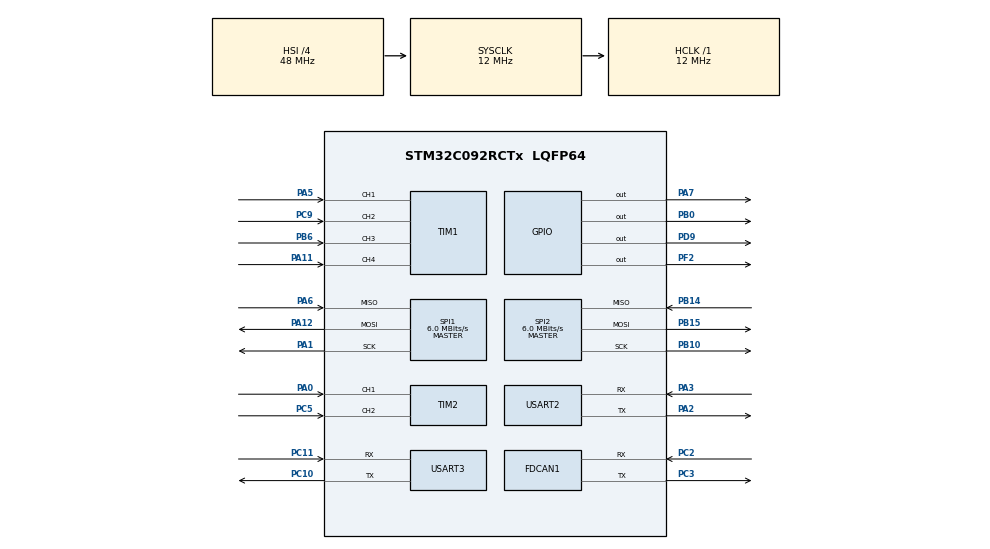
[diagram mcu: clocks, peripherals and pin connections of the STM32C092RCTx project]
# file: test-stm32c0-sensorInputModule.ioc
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FDCAN1.CalculateBaudRateNominal=250000
FDCAN1.CalculateTimeBitNominal=4000
FDCAN1.CalculateTimeQuantumNominal=1333.3333333333333
Mcu.Family=STM32C0
Mcu.Name=STM32C092RCTx
Mcu.Package=LQFP64
PA0.Signal=S_TIM2_CH1
PA1.Mode=Full_Duplex_Master
PA1.Signal=SPI1_SCK
PA11\ [PA9].Signal=S_TIM1_CH4
PA12\ [PA10].Mode=Full_Duplex_Master
PA12\ [PA10].Signal=SPI1_MOSI
PA13.Mode=Serial_Wire
PA13.Signal=DEBUG_SWDIO
PA14-BOOT0.Mode=Serial_Wire
PA14-BOOT0.Signal=DEBUG_SWCLK
PA2.Mode=Asynchronous
PA2.Signal=USART2_TX
PA3.Mode=Asynchronous
PA3.Signal=USART2_RX
PA5.Signal=S_TIM1_CH1
PA6.Mode=Full_Duplex_Master
PA6.Signal=SPI1_MISO
PA7.Signal=GPIO_Output
PB0.Signal=GPIO_Output
PB10.Mode=Full_Duplex_Master
PB10.Signal=SPI2_SCK
PB14.Mode=Full_Duplex_Master
PB14.Signal=SPI2_MISO
PB15.Mode=Full_Duplex_Master
PB15.Signal=SPI2_MOSI
PB6.Signal=S_TIM1_CH3
PC10.Mode=Asynchronous
PC10.Signal=USART3_TX
PC11.Mode=Asynchronous
PC11.Signal=USART3_RX
PC14-OSCX_IN(PC14).Mode=LSE-External-Oscillator
PC14-OSCX_IN(PC14).Signal=RCC_OSCX_IN
PC15-OSCX_OUT(PC15).Mode=LSE-External-Oscillator
PC15-OSCX_OUT(PC15).Signal=RCC_OSCX_OUT
PC2.Mode=FDCAN_Activate
PC2.Signal=FDCAN1_RX
PC3.Mode=FDCAN_Activate
PC3.Signal=FDCAN1_TX
PC5.Signal=S_TIM2_CH2
PC9.Signal=S_TIM1_CH2
PD9.Signal=GPIO_Output
PF0-OSC_IN(PF0).Mode=HSE-External-Oscillator
PF0-OSC_IN(PF0).Signal=RCC_OSC_IN
PF1-OSC_OUT(PF1).Mode=HSE-External-Oscillator
PF1-OSC_OUT(PF1).Signal=RCC_OSC_OUT
PF2-NRST.Signal=GPIO_Output
ProjectManager.HeapSize=0x200
ProjectManager.StackSize=0x400
ProjectManager.TargetToolchain=STM32CubeIDE
RCC.ADCFreq_Value=12000000
RCC.AHBFreq_Value=12000000
RCC.CortexFreq_Value=12000000
RCC.EXTERNAL_CLOCK_VALUE=12288000
RCC.HCLKFreq_Value=12000000
RCC.HSE_VALUE=8000000
RCC.HSI_VALUE=48000000
RCC.SYSCLKFreq_VALUE=12000000
SH.S_TIM1_CH1.0=TIM1_CH1,Input_Capture1_from_TI1
SH.S_TIM1_CH2.0=TIM1_CH2,Input_Capture2_from_TI2
SH.S_TIM1_CH3.0=TIM1_CH3,Input_Capture3_from_TI3
SH.S_TIM1_CH4.0=TIM1_CH4,Input_Capture4_from_TI4
SH.S_TIM2_CH1.0=TIM2_CH1,Input_Capture1_from_TI1
SH.S_TIM2_CH2.0=TIM2_CH2,Input_Capture2_from_TI2
SPI1.CalculateBaudRate=6.0 MBits/s
SPI1.Direction=SPI_DIRECTION_2LINES
SPI1.Mode=SPI_MODE_MASTER
SPI1.VirtualType=VM_MASTER
SPI2.CalculateBaudRate=6.0 MBits/s
SPI2.Direction=SPI_DIRECTION_2LINES
SPI2.Mode=SPI_MODE_MASTER
SPI2.VirtualType=VM_MASTER
TIM1.Channel-Input_Capture1_from_TI1=TIM_CHANNEL_1
TIM1.Channel-Input_Capture2_from_TI2=TIM_CHANNEL_2
TIM1.Channel-Input_Capture3_from_TI3=TIM_CHANNEL_3
TIM1.Channel-Input_Capture4_from_TI4=TIM_CHANNEL_4
TIM2.Channel-Input_Capture1_from_TI1=TIM_CHANNEL_1
TIM2.Channel-Input_Capture2_from_TI2=TIM_CHANNEL_2
USART2.VirtualMode-Asynchronous=VM_ASYNC
USART3.VirtualMode-Asynchronous=VM_ASYNC
VP_TIM1_VS_ClockSourceINT.Mode=Internal
VP_TIM2_VS_ClockSourceINT.Mode=Internal
board=custom

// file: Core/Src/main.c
/* USER CODE BEGIN Header */
/**
  ******************************************************************************
  * @file           : main.c
  * @brief          : Main program body
  ******************************************************************************
  * @attention
  *
  * Copyright (c) 2025 STMicroelectronics.
  * All rights reserved.
  *
  * This software is licensed under terms that can be found in the LICENSE file
  * in the root directory of this software component.
  * If no LICENSE file comes with this software, it is provided AS-IS.
  *
  ******************************************************************************
  */
/* USER CODE END Header */
#include "main.h"

FDCAN_HandleTypeDef hfdcan1;

SPI_HandleTypeDef hspi1;
SPI_HandleTypeDef hspi2;

TIM_HandleTypeDef htim1;
TIM_HandleTypeDef htim2;

UART_HandleTypeDef huart2;
UART_HandleTypeDef huart3;

void SystemClock_Config(void);
static void MX_GPIO_Init(void);
static void MX_FDCAN1_Init(void);
static void MX_TIM1_Init(void);
static void MX_SPI1_Init(void);
static void MX_SPI2_Init(void);
static void MX_USART3_UART_Init(void);
static void MX_TIM2_Init(void);
static void MX_USART2_UART_Init(void);

/* USER CODE BEGIN 0 */
volatile uint8_t gu8_State = IDLE;
volatile uint8_t gu8_MSG[35] = {'\0'};
volatile uint32_t gu32_T1 = 0;
volatile uint32_t gu32_T2 = 0;
volatile uint32_t gu32_Ticks = 0;
volatile uint16_t gu16_TIM2_OVC = 0;
volatile uint32_t gu32_Freq = 0;

void HAL_TIM_IC_CaptureCallback(TIM_HandleTypeDef* htim)
{
    if(gu8_State == IDLE)
    {
        gu32_T1 = TIM2->CCR1;
        gu16_TIM2_OVC = 0;
        gu8_State = DONE;
    }
    else if(gu8_State == DONE)
    {
        gu32_T2 = TIM2->CCR1;
        gu32_Ticks = (gu32_T2 + (gu16_TIM2_OVC * 65536)) - gu32_T1;
        gu32_Freq = (uint32_t)(F_CLK/gu32_Ticks);
        if(gu32_Freq != 0)
        {
          //sprintf(gu8_MSG, "Frequency = %lu Hz\n\r", gu32_Freq);
          //HAL_UART_Transmit(&huart1, gu8_MSG, sizeof(gu8_MSG), 100);
        }
        gu8_State = IDLE;
    }
}

void HAL_TIM_PeriodElapsedCallback(TIM_HandleTypeDef* htim)
{
    gu16_TIM2_OVC++;
}

/* USER CODE END 0 */

int main(void)
{

  /* MCU Configuration--------------------------------------------------------*/

  /* Reset of all peripherals, Initializes the Flash interface and the Systick. */
  HAL_Init();

  /* Configure the system clock */
  SystemClock_Config();

  /* Initialize all configured peripherals */
  MX_GPIO_Init();
  MX_FDCAN1_Init();
  MX_TIM1_Init();
  MX_SPI1_Init();
  MX_SPI2_Init();
  MX_USART3_UART_Init();
  MX_TIM2_Init();
  MX_USART2_UART_Init();

  /* Infinite loop */
  while (1)
  {
	  HAL_Delay(100); //TODO: print to UART peripheral for testing
	  //printf("the frequency is %lu hz\n\r", gu32_Freq);

  }
}

void SystemClock_Config(void)
{
  RCC_OscInitTypeDef RCC_OscInitStruct = {0};
  RCC_ClkInitTypeDef RCC_ClkInitStruct = {0};

  __HAL_FLASH_SET_LATENCY(FLASH_LATENCY_0);

  /** Initializes the RCC Oscillators according to the specified parameters
  * in the RCC_OscInitTypeDef structure.
  */
  RCC_OscInitStruct.OscillatorType = RCC_OSCILLATORTYPE_HSI;
  RCC_OscInitStruct.HSIState = RCC_HSI_ON;
  RCC_OscInitStruct.HSIDiv = RCC_HSI_DIV4;
  RCC_OscInitStruct.HSICalibrationValue = RCC_HSICALIBRATION_DEFAULT;
  if (HAL_RCC_OscConfig(&RCC_OscInitStruct) != HAL_OK)
  {
    Error_Handler();
  }

  /** Initializes the CPU, AHB and APB buses clocks
  */
  RCC_ClkInitStruct.ClockType = RCC_CLOCKTYPE_HCLK|RCC_CLOCKTYPE_SYSCLK
                              |RCC_CLOCKTYPE_PCLK1;
  RCC_ClkInitStruct.SYSCLKSource = RCC_SYSCLKSOURCE_HSI;
  RCC_ClkInitStruct.SYSCLKDivider = RCC_SYSCLK_DIV1;
  RCC_ClkInitStruct.AHBCLKDivider = RCC_HCLK_DIV1;
  RCC_ClkInitStruct.APB1CLKDivider = RCC_APB1_DIV1;

  if (HAL_RCC_ClockConfig(&RCC_ClkInitStruct, FLASH_LATENCY_0) != HAL_OK)
  {
    Error_Handler();
  }
}

static void MX_FDCAN1_Init(void)
{

  hfdcan1.Instance = FDCAN1;
  hfdcan1.Init.ClockDivider = FDCAN_CLOCK_DIV1;
  hfdcan1.Init.FrameFormat = FDCAN_FRAME_CLASSIC;
  hfdcan1.Init.Mode = FDCAN_MODE_NORMAL;
  hfdcan1.Init.AutoRetransmission = DISABLE;
  hfdcan1.Init.TransmitPause = DISABLE;
  hfdcan1.Init.ProtocolException = DISABLE;
  hfdcan1.Init.NominalPrescaler = 16;
  hfdcan1.Init.NominalSyncJumpWidth = 1;
  hfdcan1.Init.NominalTimeSeg1 = 1;
  hfdcan1.Init.NominalTimeSeg2 = 1;
  hfdcan1.Init.DataPrescaler = 1;
  hfdcan1.Init.DataSyncJumpWidth = 1;
  hfdcan1.Init.DataTimeSeg1 = 1;
  hfdcan1.Init.DataTimeSeg2 = 1;
  hfdcan1.Init.StdFiltersNbr = 0;
  hfdcan1.Init.ExtFiltersNbr = 0;
  hfdcan1.Init.TxFifoQueueMode = FDCAN_TX_FIFO_OPERATION;
  if (HAL_FDCAN_Init(&hfdcan1) != HAL_OK)
  {
    Error_Handler();
  }

}

static void MX_SPI1_Init(void)
{

  /* SPI1 parameter configuration*/
  hspi1.Instance = SPI1;
  hspi1.Init.Mode = SPI_MODE_MASTER;
  hspi1.Init.Direction = SPI_DIRECTION_2LINES;
  hspi1.Init.DataSize = SPI_DATASIZE_4BIT;
  hspi1.Init.CLKPolarity = SPI_POLARITY_LOW;
  hspi1.Init.CLKPhase = SPI_PHASE_1EDGE;
  hspi1.Init.NSS = SPI_NSS_SOFT;
  hspi1.Init.BaudRatePrescaler = SPI_BAUDRATEPRESCALER_2;
  hspi1.Init.FirstBit = SPI_FIRSTBIT_MSB;
  hspi1.Init.TIMode = SPI_TIMODE_DISABLE;
  hspi1.Init.CRCCalculation = SPI_CRCCALCULATION_DISABLE;
  hspi1.Init.CRCPolynomial = 7;
  hspi1.Init.CRCLength = SPI_CRC_LENGTH_DATASIZE;
  hspi1.Init.NSSPMode = SPI_NSS_PULSE_ENABLE;
  if (HAL_SPI_Init(&hspi1) != HAL_OK)
  {
    Error_Handler();
  }

}

static void MX_SPI2_Init(void)
{

  /* SPI2 parameter configuration*/
  hspi2.Instance = SPI2;
  hspi2.Init.Mode = SPI_MODE_MASTER;
  hspi2.Init.Direction = SPI_DIRECTION_2LINES;
  hspi2.Init.DataSize = SPI_DATASIZE_4BIT;
  hspi2.Init.CLKPolarity = SPI_POLARITY_LOW;
  hspi2.Init.CLKPhase = SPI_PHASE_1EDGE;
  hspi2.Init.NSS = SPI_NSS_SOFT;
  hspi2.Init.BaudRatePrescaler = SPI_BAUDRATEPRESCALER_2;
  hspi2.Init.FirstBit = SPI_FIRSTBIT_MSB;
  hspi2.Init.TIMode = SPI_TIMODE_DISABLE;
  hspi2.Init.CRCCalculation = SPI_CRCCALCULATION_DISABLE;
  hspi2.Init.CRCPolynomial = 7;
  hspi2.Init.CRCLength = SPI_CRC_LENGTH_DATASIZE;
  hspi2.Init.NSSPMode = SPI_NSS_PULSE_ENABLE;
  if (HAL_SPI_Init(&hspi2) != HAL_OK)
  {
    Error_Handler();
  }

}

static void MX_TIM1_Init(void)
{

  TIM_ClockConfigTypeDef sClockSourceConfig = {0};
  TIM_MasterConfigTypeDef sMasterConfig = {0};
  TIM_IC_InitTypeDef sConfigIC = {0};

  htim1.Instance = TIM1;
  htim1.Init.Prescaler = 0;
  htim1.Init.CounterMode = TIM_COUNTERMODE_UP;
  htim1.Init.Period = 65535;
  htim1.Init.ClockDivision = TIM_CLOCKDIVISION_DIV1;
  htim1.Init.RepetitionCounter = 0;
  htim1.Init.AutoReloadPreload = TIM_AUTORELOAD_PRELOAD_DISABLE;
  if (HAL_TIM_Base_Init(&htim1) != HAL_OK)
  {
    Error_Handler();
  }
  sClockSourceConfig.ClockSource = TIM_CLOCKSOURCE_INTERNAL;
  if (HAL_TIM_ConfigClockSource(&htim1, &sClockSourceConfig) != HAL_OK)
  {
    Error_Handler();
  }
  if (HAL_TIM_IC_Init(&htim1) != HAL_OK)
  {
    Error_Handler();
  }
  sMasterConfig.MasterOutputTrigger = TIM_TRGO_RESET;
  sMasterConfig.MasterOutputTrigger2 = TIM_TRGO2_RESET;
  sMasterConfig.MasterSlaveMode = TIM_MASTERSLAVEMODE_DISABLE;
  if (HAL_TIMEx_MasterConfigSynchronization(&htim1, &sMasterConfig) != HAL_OK)
  {
    Error_Handler();
  }
  sConfigIC.ICPolarity = TIM_INPUTCHANNELPOLARITY_RISING;
  sConfigIC.ICSelection = TIM_ICSELECTION_DIRECTTI;
  sConfigIC.ICPrescaler = TIM_ICPSC_DIV1;
  sConfigIC.ICFilter = 0;
  if (HAL_TIM_IC_ConfigChannel(&htim1, &sConfigIC, TIM_CHANNEL_1) != HAL_OK)
  {
    Error_Handler();
  }
  if (HAL_TIM_IC_ConfigChannel(&htim1, &sConfigIC, TIM_CHANNEL_2) != HAL_OK)
  {
    Error_Handler();
  }
  if (HAL_TIM_IC_ConfigChannel(&htim1, &sConfigIC, TIM_CHANNEL_3) != HAL_OK)
  {
    Error_Handler();
  }
  if (HAL_TIM_IC_ConfigChannel(&htim1, &sConfigIC, TIM_CHANNEL_4) != HAL_OK)
  {
    Error_Handler();
  }

}

static void MX_TIM2_Init(void)
{

  TIM_ClockConfigTypeDef sClockSourceConfig = {0};
  TIM_MasterConfigTypeDef sMasterConfig = {0};
  TIM_IC_InitTypeDef sConfigIC = {0};

  htim2.Instance = TIM2;
  htim2.Init.Prescaler = 0;
  htim2.Init.CounterMode = TIM_COUNTERMODE_UP;
  htim2.Init.Period = 4294967295;
  htim2.Init.ClockDivision = TIM_CLOCKDIVISION_DIV1;
  htim2.Init.AutoReloadPreload = TIM_AUTORELOAD_PRELOAD_DISABLE;
  if (HAL_TIM_Base_Init(&htim2) != HAL_OK)
  {
    Error_Handler();
  }
  sClockSourceConfig.ClockSource = TIM_CLOCKSOURCE_INTERNAL;
  if (HAL_TIM_ConfigClockSource(&htim2, &sClockSourceConfig) != HAL_OK)
  {
    Error_Handler();
  }
  if (HAL_TIM_IC_Init(&htim2) != HAL_OK)
  {
    Error_Handler();
  }
  sMasterConfig.MasterOutputTrigger = TIM_TRGO_RESET;
  sMasterConfig.MasterSlaveMode = TIM_MASTERSLAVEMODE_DISABLE;
  if (HAL_TIMEx_MasterConfigSynchronization(&htim2, &sMasterConfig) != HAL_OK)
  {
    Error_Handler();
  }
  sConfigIC.ICPolarity = TIM_INPUTCHANNELPOLARITY_RISING;
  sConfigIC.ICSelection = TIM_ICSELECTION_DIRECTTI;
  sConfigIC.ICPrescaler = TIM_ICPSC_DIV1;
  sConfigIC.ICFilter = 0;
  if (HAL_TIM_IC_ConfigChannel(&htim2, &sConfigIC, TIM_CHANNEL_1) != HAL_OK)
  {
    Error_Handler();
  }
  if (HAL_TIM_IC_ConfigChannel(&htim2, &sConfigIC, TIM_CHANNEL_2) != HAL_OK)
  {
    Error_Handler();
  }

}

static void MX_USART2_UART_Init(void)
{

  huart2.Instance = USART2;
  huart2.Init.BaudRate = 115200;
  huart2.Init.WordLength = UART_WORDLENGTH_8B;
  huart2.Init.StopBits = UART_STOPBITS_1;
  huart2.Init.Parity = UART_PARITY_NONE;
  huart2.Init.Mode = UART_MODE_TX_RX;
  huart2.Init.HwFlowCtl = UART_HWCONTROL_NONE;
  huart2.Init.OverSampling = UART_OVERSAMPLING_16;
  huart2.Init.OneBitSampling = UART_ONE_BIT_SAMPLE_DISABLE;
  huart2.Init.ClockPrescaler = UART_PRESCALER_DIV1;
  huart2.AdvancedInit.AdvFeatureInit = UART_ADVFEATURE_NO_INIT;
  if (HAL_UART_Init(&huart2) != HAL_OK)
  {
    Error_Handler();
  }

}

static void MX_USART3_UART_Init(void)
{

  huart3.Instance = USART3;
  huart3.Init.BaudRate = 115200;
  huart3.Init.WordLength = UART_WORDLENGTH_8B;
  huart3.Init.StopBits = UART_STOPBITS_1;
  huart3.Init.Parity = UART_PARITY_NONE;
  huart3.Init.Mode = UART_MODE_TX_RX;
  huart3.Init.HwFlowCtl = UART_HWCONTROL_NONE;
  huart3.Init.OverSampling = UART_OVERSAMPLING_16;
  huart3.Init.OneBitSampling = UART_ONE_BIT_SAMPLE_DISABLE;
  huart3.Init.ClockPrescaler = UART_PRESCALER_DIV1;
  huart3.AdvancedInit.AdvFeatureInit = UART_ADVFEATURE_NO_INIT;
  if (HAL_UART_Init(&huart3) != HAL_OK)
  {
    Error_Handler();
  }

}

static void MX_GPIO_Init(void)
{
  GPIO_InitTypeDef GPIO_InitStruct = {0};

  /* GPIO Ports Clock Enable */
  __HAL_RCC_GPIOC_CLK_ENABLE();
  __HAL_RCC_GPIOF_CLK_ENABLE();
  __HAL_RCC_GPIOA_CLK_ENABLE();
  __HAL_RCC_GPIOB_CLK_ENABLE();
  __HAL_RCC_GPIOD_CLK_ENABLE();

  /*Configure GPIO pin Output Level */
  HAL_GPIO_WritePin(GPIOF, GPIO_PIN_2, GPIO_PIN_RESET);

  /*Configure GPIO pin Output Level */
  HAL_GPIO_WritePin(GPIOA, GPIO_PIN_7, GPIO_PIN_RESET);

  /*Configure GPIO pin Output Level */
  HAL_GPIO_WritePin(GPIOB, GPIO_PIN_0, GPIO_PIN_RESET);

  /*Configure GPIO pin Output Level */
  HAL_GPIO_WritePin(GPIOD, GPIO_PIN_9, GPIO_PIN_RESET);

  /*Configure GPIO pin : PF2 */
  GPIO_InitStruct.Pin = GPIO_PIN_2;
  GPIO_InitStruct.Mode = GPIO_MODE_OUTPUT_PP;
  GPIO_InitStruct.Pull = GPIO_NOPULL;
  GPIO_InitStruct.Speed = GPIO_SPEED_FREQ_LOW;
  HAL_GPIO_Init(GPIOF, &GPIO_InitStruct);

  /*Configure GPIO pin : PA7 */
  GPIO_InitStruct.Pin = GPIO_PIN_7;
  GPIO_InitStruct.Mode = GPIO_MODE_OUTPUT_PP;
  GPIO_InitStruct.Pull = GPIO_NOPULL;
  GPIO_InitStruct.Speed = GPIO_SPEED_FREQ_LOW;
  HAL_GPIO_Init(GPIOA, &GPIO_InitStruct);

  /*Configure GPIO pin : PB0 */
  GPIO_InitStruct.Pin = GPIO_PIN_0;
  GPIO_InitStruct.Mode = GPIO_MODE_OUTPUT_PP;
  GPIO_InitStruct.Pull = GPIO_NOPULL;
  GPIO_InitStruct.Speed = GPIO_SPEED_FREQ_LOW;
  HAL_GPIO_Init(GPIOB, &GPIO_InitStruct);

  /*Configure GPIO pin : PD9 */
  GPIO_InitStruct.Pin = GPIO_PIN_9;
  GPIO_InitStruct.Mode = GPIO_MODE_OUTPUT_PP;
  GPIO_InitStruct.Pull = GPIO_NOPULL;
  GPIO_InitStruct.Speed = GPIO_SPEED_FREQ_LOW;
  HAL_GPIO_Init(GPIOD, &GPIO_InitStruct);

}

void Error_Handler(void)
{
  __disable_irq();
  while (1)
  {
  }
}
